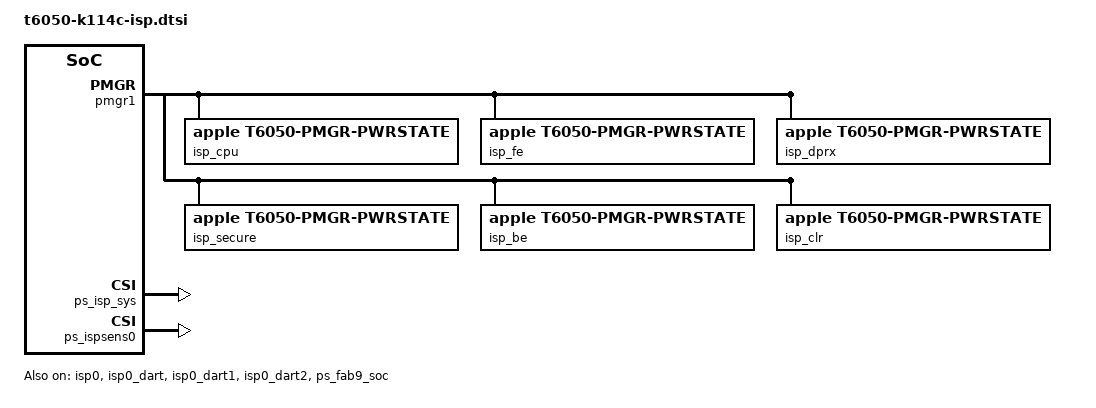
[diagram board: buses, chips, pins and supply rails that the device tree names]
// SPDX-License-Identifier: GPL-2.0+ OR MIT
/*
 * K114c camera, draft. ADT isp0/dart-isp0 match J716c/J714c except sensor-type
 * (0xb9 here). The loader (aura) reserves the firmware text/data and the main
 * memory is placed statically below (no loader handoff).
 * Firmware segments (macOS ioreg, MEASURED): text 0x100011f4000 size 0xc1c000,
 * data 0x1000292c000 size 0x13d0000, the J716c sizes. UNMEASURED: presets, light.
 */
/*
 * Static firmware placement, from the live K114c ADT isp0 segment-ranges (iBoot loads them):
 * text 0x10001228000 size 0xc1c000, data 0x10002930000 size 0x13d0000, main memory 32 MiB at IOVA
 * 0x100_0000_0000 (the macOS ioreg values, text 0x100011f4000 and data 0x1000292c000, were stale).
 * No "isp" alias: no loader change, the loader leaves the node as it is. The addresses move with
 * iBoot; re-read them after an update.
 */
&{/reserved-memory} {
	isp_fw_text: isp-firmware-text@10001228000 {
		reg = <0x100 0x01228000 0x0 0xc1c000>;
		iommu-addresses = <&isp0 0x100 0x0 0x0 0xc1c000>;
		no-map;
	};

	isp_fw_data: isp-firmware-data@10002930000 {
		reg = <0x100 0x02930000 0x0 0x13d0000>;
		iommu-addresses = <&isp0 0x100 0xc1c000 0x0 0x13d0000>;
		no-map;
	};

	isp_heap: isp-heap {
		iommu-addresses = <&isp0 0x100 0x0 0x0 0x2000000>;
	};
};

&isp0 {
	/delete-property/ clocks;
	compatible = "apple,t6050-isp", "apple,isp";
	reg = <0x5 0x80000000 0 0x1604000>,
	      <0x5 0x82924000 0 0x40>,
	      <0x5 0x829241d0 0 0x20>,
	      <0x5 0x82924464 0 0x10>,
	      <0x5 0xc3b50000 0 0x8000>;
	reg-names = "coproc", "mbox", "gpio", "mbox2", "wdt";
	interrupts = <AIC_IRQ 0 513 IRQ_TYPE_LEVEL_HIGH>;
	iommus = <&isp0_dart 0>, <&isp0_dart 12>,
		 <&isp0_dart1 0>, <&isp0_dart1 12>,
		 <&isp0_dart2 0>, <&isp0_dart2 12>;
	power-domains = <&ps_isp_sys>, <&ps_isp_cpu>, <&ps_isp_fe>,
			<&ps_isp_dprx>, <&ps_isp_secure>, <&ps_isp_be>,
			<&ps_isp_clr>, <&ps_ispsens0>;
	apple,dart-vm-size = /bits/ 64 <0xde600000>;
	apple,platform-id = <0xb9>;
	apple,temporal-filter = <1>;
	apple,cam-connections-scheme = <0x10>;
	/*
	 * The K114c ADT (macOS ioreg) has no camera-light GPIO: eic cil 1, mil 1,
	 * no cil-gpio-offset/config (the J714c has pin 141). Linux does not drive
	 * the light here. What lights it is UNMEASURED: watch the LED at the first
	 * stream.
	 */
	apple,no-light-gpio;
	/* Best-effort software indicator via the DCP; not a privacy guarantee. */
	apple,camera-indicator = <&dcp>;
	memory-region = <&isp_fw_text>, <&isp_fw_data>, <&isp_heap>;
	memory-region-names = "text", "data", "heap";
	status = "okay";
	sensor-presets {
		/* J714c IMX958 presets (omacom/linux-aurora#422); UNMEASURED on K114c. */
		preset0 {
			apple,config-index = <6>;
			apple,input-size = <3040 2880>;
			apple,output-size = <1920 1080>;
			apple,crop = <320 765 2400 1350>;
		};
		preset1 {
			apple,config-index = <7>;
			apple,input-size = <3040 2880>;
			apple,output-size = <1280 720>;
			apple,crop = <320 765 2400 1350>;
		};
		preset2 {
			apple,config-index = <6>;
			apple,input-size = <3040 2880>;
			apple,output-size = <2560 1440>;
			apple,crop = <240 720 2560 1440>;
		};
	};
};

&isp0_dart {
	compatible = "apple,t6050-isp-dart", "apple,t8110-dart";
	reg = <0x5 0x828c0000 0 0xc000>, <0x5 0x828d0000 0 0x4000>;
	reg-names = "dart", "dapf";
	#iommu-cells = <1>;
	interrupts = <AIC_IRQ 0 531 IRQ_TYPE_LEVEL_HIGH>;
	power-domains = <&ps_isp_sys>;
	apple,remap-streams = <1 0>, <6 0>, <7 0>, <10 0>, <11 0>;
	status = "okay";
};

&isp0_dart1 {
	compatible = "apple,t6050-isp-dart", "apple,t8110-dart";
	reg = <0x5 0x828e0000 0 0xc000>;
	reg-names = "dart";
	#iommu-cells = <1>;
	interrupts = <AIC_IRQ 0 531 IRQ_TYPE_LEVEL_HIGH>;
	power-domains = <&ps_isp_sys>;
	apple,remap-streams = <1 0>, <6 0>, <7 0>, <10 0>, <11 0>;
	status = "okay";
};

&isp0_dart2 {
	compatible = "apple,t6050-isp-dart", "apple,t8110-dart";
	reg = <0x5 0x82900000 0 0xc000>;
	reg-names = "dart";
	#iommu-cells = <1>;
	interrupts = <AIC_IRQ 0 531 IRQ_TYPE_LEVEL_HIGH>;
	power-domains = <&ps_isp_sys>;
	apple,remap-streams = <1 0>, <6 0>, <7 0>, <10 0>, <11 0>;
	status = "okay";
};

&pmgr1 {
	ps_isp_cpu: power-controller@3b0 {
		compatible = "apple,t6050-pmgr-pwrstate", "apple,t8103-pmgr-pwrstate";
		reg = <0x3b0 4>;
		#power-domain-cells = <0>;
		#reset-cells = <0>;
		label = "isp_cpu";
		apple,no-auto-pm;
		power-domains = <&ps_isp_sys>;
	};
	ps_isp_fe: power-controller@3b8 {
		compatible = "apple,t6050-pmgr-pwrstate", "apple,t8103-pmgr-pwrstate";
		reg = <0x3b8 4>;
		#power-domain-cells = <0>;
		#reset-cells = <0>;
		label = "isp_fe";
		apple,no-auto-pm;
		power-domains = <&ps_isp_sys>;
	};
	ps_isp_dprx: power-controller@3d8 {
		compatible = "apple,t6050-pmgr-pwrstate", "apple,t8103-pmgr-pwrstate";
		reg = <0x3d8 4>;
		#power-domain-cells = <0>;
		#reset-cells = <0>;
		label = "isp_dprx";
		apple,no-auto-pm;
		power-domains = <&ps_isp_sys>;
	};
	ps_isp_secure: power-controller@3e0 {
		compatible = "apple,t6050-pmgr-pwrstate", "apple,t8103-pmgr-pwrstate";
		reg = <0x3e0 4>;
		#power-domain-cells = <0>;
		#reset-cells = <0>;
		label = "isp_secure";
		apple,no-auto-pm;
		power-domains = <&ps_isp_sys>;
	};
	ps_isp_be: power-controller@3e8 {
		compatible = "apple,t6050-pmgr-pwrstate", "apple,t8103-pmgr-pwrstate";
		reg = <0x3e8 4>;
		#power-domain-cells = <0>;
		#reset-cells = <0>;
		label = "isp_be";
		apple,no-auto-pm;
		power-domains = <&ps_isp_sys>;
	};
	ps_isp_clr: power-controller@3f0 {
		compatible = "apple,t6050-pmgr-pwrstate", "apple,t8103-pmgr-pwrstate";
		reg = <0x3f0 4>;
		#power-domain-cells = <0>;
		#reset-cells = <0>;
		label = "isp_clr";
		apple,no-auto-pm;
		power-domains = <&ps_isp_sys>;
	};
};

&ps_fab9_soc {
	/delete-property/ power-domains;
	apple,no-auto-pm;
	apple,firmware-owned;
	status = "okay";
};

&ps_isp_sys {
	apple,no-auto-pm;
	apple,always-on;
	status = "okay";
};

&ps_ispsens0 {
	apple,no-auto-pm;
	status = "okay";
};
